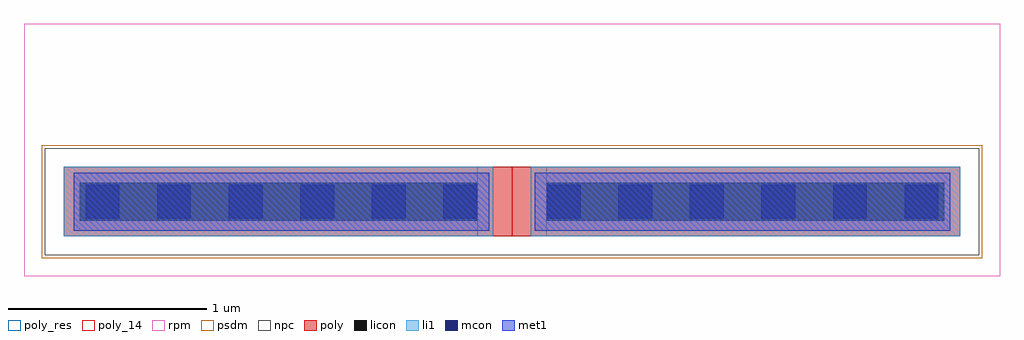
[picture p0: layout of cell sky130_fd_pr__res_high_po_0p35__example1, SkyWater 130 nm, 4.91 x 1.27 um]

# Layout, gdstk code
from math import pi, radians
import gdstk
lib = gdstk.Library(unit=1e-6, precision=1e-09)
def R(c, l, rs):  # rectangles x0, y0, x1, y1
    for r in rs: c.add(gdstk.rectangle(r[:2], r[2:], *l))
def A(c, l, x, y, w, h, nx, ny, dx, dy):  # array of equal rectangles
    R(c, l, [(x+i*dx, y+j*dy, x+i*dx+w, y+j*dy+h) for i in range(nx) for j in range(ny)])
poly_res = (66, 13)
poly_14 = (66, 14)
poly = (66, 20)
licon = (66, 44)
li1 = (67, 20)
mcon = (67, 44)
met1 = (68, 20)
rpm = (86, 20)
psdm = (94, 20)
npc = (95, 20)

sky130_fd_pr__res_high_p = lib.new_cell('sky130_fd_pr__res_high_pol1m1_0p35__example1')
R(sky130_fd_pr__res_high_p, li1, [(0,0,1.97,0.17)])
A(sky130_fd_pr__res_high_p, mcon, 0, 0, 0.17, 0.17, 6, 1, 0.36, 0)
R(sky130_fd_pr__res_high_p, met1, [(-0.06,-0.06,2.03,0.23)])

c_sky130_fd_pr__res_high_p = lib.new_cell('sky130_fd_pr__res_high_pol1_0p35__example1')
R(c_sky130_fd_pr__res_high_p, poly, [(0,0,2.16,0.35)])
R(c_sky130_fd_pr__res_high_p, licon, [(0.08,0.08,2.08,0.27)])
R(c_sky130_fd_pr__res_high_p, li1, [(0,0,2.16,0.35)])

c_sky130_fd_pr__res_high_p_ = lib.new_cell('sky130_fd_pr__res_high_po_0p35__example1')
R(c_sky130_fd_pr__res_high_p_, poly_res, [(0,0,0.35,0.35)])
R(c_sky130_fd_pr__res_high_p_, poly_14, [(0.173,0,0.178,0.35)])
R(c_sky130_fd_pr__res_high_p_, poly, [(-2.08,0,2.43,0.35)])
R(c_sky130_fd_pr__res_high_p_, li1, [(-2.08,0,0.08,0.35), (0.27,0,2.43,0.35)])
R(c_sky130_fd_pr__res_high_p_, met1, [(-2.03,0.03,0.06,0.32), (0.29,0.03,2.38,0.32)])
R(c_sky130_fd_pr__res_high_p_, rpm, [(-2.28,-0.2,2.63,1.07)])
R(c_sky130_fd_pr__res_high_p_, psdm, [(-2.19,-0.11,2.54,0.46)])
R(c_sky130_fd_pr__res_high_p_, npc, [(-2.175,-0.095,2.525,0.445)])
c_sky130_fd_pr__res_high_p_.add(gdstk.Reference(sky130_fd_pr__res_high_p, (0.35,0.09)))
c_sky130_fd_pr__res_high_p_.add(gdstk.Reference(sky130_fd_pr__res_high_p, (0,0.09), rotation=pi, x_reflection=True))
c_sky130_fd_pr__res_high_p_.add(gdstk.Reference(c_sky130_fd_pr__res_high_p, (0.27,0)))
c_sky130_fd_pr__res_high_p_.add(gdstk.Reference(c_sky130_fd_pr__res_high_p, (0.08,0), rotation=pi, x_reflection=True))

lib.write_gds('sky130_fd_pr__res_high_po_0p35__example1.gds')
